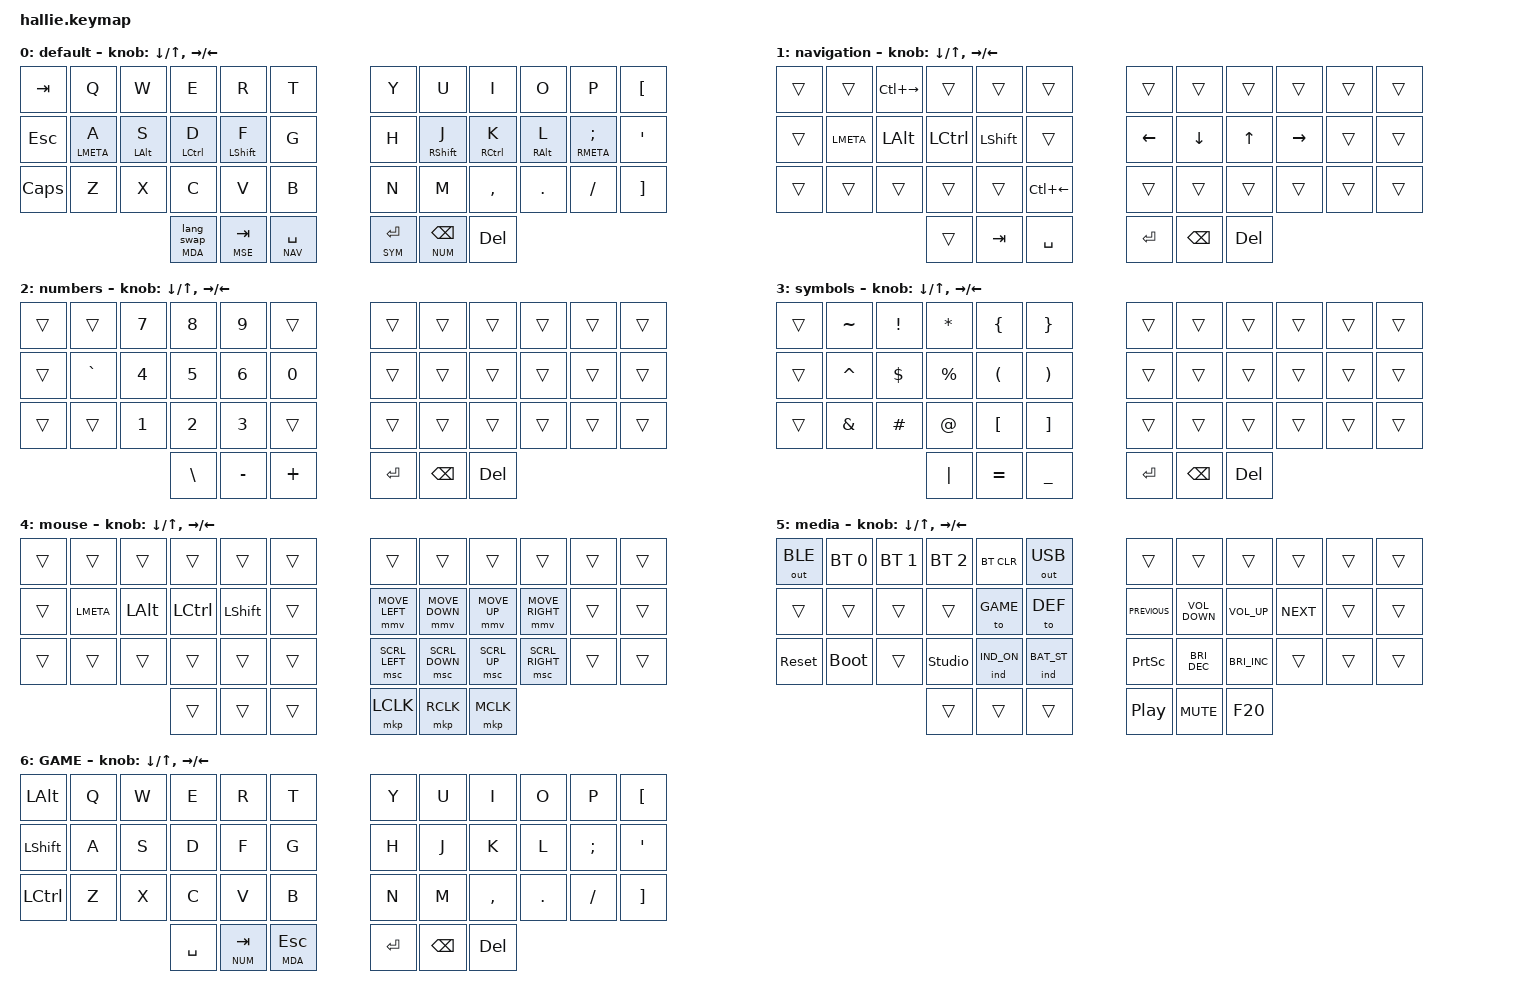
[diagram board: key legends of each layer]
#undef ZMK_BEHAVIORS_KEEP_ALL

#define ZMK_BEHAVIORS_KEEP_IND
#define ZMK_BEHAVIORS_KEEP_BT
#define ZMK_BEHAVIORS_KEEP_GRESC
#define ZMK_BEHAVIORS_KEEP_SYS_RESET
#define ZMK_BEHAVIORS_KEEP_BOOTLOADER
#define ZMK_BEHAVIORS_KEEP_CAPS_WORD
#define ZMK_BEHAVIORS_KEEP_KEY_REPEAT
#define ZMK_BEHAVIORS_KEEP_KT
#define ZMK_BEHAVIORS_KEEP_LT
#define ZMK_BEHAVIORS_KEEP_MT
#define ZMK_BEHAVIORS_KEEP_SK
#define ZMK_BEHAVIORS_KEEP_STICKY_LAYER
#define ZMK_BEHAVIORS_KEEP_TO
#define ZMK_BEHAVIORS_KEEP_TOG
#define ZMK_BEHAVIORS_KEEP_TRANS

#include <behaviors.dtsi>
#include <behaviors/indicators.dtsi>

#include <dt-bindings/zmk/bt.h>
#include <dt-bindings/zmk/keys.h>
#include <dt-bindings/zmk/outputs.h>
#include <dt-bindings/zmk/indicators.h>
#include <dt-bindings/zmk/pointing.h>

#define CONFIG_ZMK_IDLE_TIMEOUT 300000
#define ZMK_POINTING_DEFAULT_MOVE_VAL 500
#define ZMK_POINTING_DEFAULT_SCRL_VAL 250

#define DEF 0
#define NAV 1
#define NUM 2
#define SYM 3
#define MSE 4
#define MDA 5
#define GAME 6

&lt { quick_tap_ms = <200>; };

&mt { quick_tap_ms = <200>; };

/ {
    macros {
        lang_swap: lang_swap {
            compatible = "zmk,behavior-macro";
            #binding-cells = <0>;
            bindings = <&kt LALT &kp LSHFT &kt LALT>;
        };
    };

    behaviors {
        hrm_l: hrm_l {
            compatible = "zmk,behavior-hold-tap";
            #binding-cells = <2>;
            flavor = "balanced";
            tapping-term-ms = <200>;
            quick-tap-ms = <200>;
            require-prior-idle-ms = <125>;
            bindings = <&kp>, <&kp>;

            hold-trigger-on-release;

            hold-trigger-key-positions = <
                6 7 8 9 10 11
                18 19 20 21 22 23
                30 31 32 33 34 35
                13 14 15 16
                36 37 38 39 40 41
            >;
        };

        hrm_r: hrm_r {
            compatible = "zmk,behavior-hold-tap";
            #binding-cells = <2>;
            flavor = "balanced";
            tapping-term-ms = <200>;
            quick-tap-ms = <200>;
            require-prior-idle-ms = <125>;
            bindings = <&kp>, <&kp>;

            hold-trigger-on-release;
            hold-trigger-key-positions = <
                0 1 2 3 4 5
                12 13 14 15 16 17
                24 25 26 27 28 29
                19 20 21 22
                36 37 38 39 40 41
            >;
        };

        htmk: htmk {
            compatible = "zmk,behavior-hold-tap";
            label = "HT_MOD_KEY";
            bindings = <&mo>, <&kp>;

            #binding-cells = <2>;
            tapping-term-ms = <200>;
            flavor = "balanced";
        };

        lang: layer_lang {
            compatible = "zmk,behavior-hold-tap";
            label = "LANG_MOD_KEY";
            bindings = <&mo>, <&lang_swap>;

            #binding-cells = <2>;
            tapping-term-ms = <200>;
            flavor = "balanced";
        };
    };

    keymap {
        compatible = "zmk,keymap";

        default {
            bindings = <
&kp TAB   &kp Q           &kp W          &kp E           &kp R           &kp T              &kp Y          &kp U           &kp I           &kp O          &kp P              &kp LBKT
&kp ESC   &hrm_l LMETA A  &hrm_l LALT S  &hrm_l LCTRL D  &hrm_l LSHFT F  &kp G              &kp H          &hrm_r RSHFT J  &hrm_r RCTRL K  &hrm_r RALT L  &hrm_r RMETA SEMI  &kp SQT
&kp CAPS  &kp Z           &kp X          &kp C           &kp V           &kp B              &kp N          &kp M           &kp COMMA       &kp DOT        &kp SLASH          &kp RBKT
                                         &lang MDA 0     &htmk MSE TAB   &htmk NAV SPACE    &htmk SYM RET  &htmk NUM BSPC  &kp DEL
            >;

            sensor-bindings = <&inc_dec_kp DOWN_ARROW UP_ARROW &inc_dec_kp RIGHT_ARROW LEFT_ARROW>;
        };

        navigation {
            bindings = <
&trans  &trans     &kp LC(RIGHT)  &trans     &trans      &trans         &trans    &trans         &trans      &trans     &trans  &trans
&trans  &kp LMETA  &kp LALT       &kp LCTRL  &kp LSHIFT  &trans         &kp LEFT  &kp DOWN       &kp UP      &kp RIGHT  &trans  &trans
&trans  &trans     &trans         &trans     &trans      &kp LC(LEFT)   &trans    &trans         &trans      &trans     &trans  &trans
                                 &trans     &kp TAB     &kp SPACE       &kp RET   &kp BACKSPACE  &kp DELETE
            >;

            sensor-bindings = <&inc_dec_kp DOWN_ARROW UP_ARROW &inc_dec_kp RIGHT_ARROW LEFT_ARROW>;
        };

        numbers {
            bindings = <
&trans  &trans     &kp N7  &kp N8         &kp N9     &trans      &trans   &trans         &trans      &trans  &trans  &trans
&trans  &kp GRAVE  &kp N4  &kp N5         &kp N6     &kp N0      &trans   &trans         &trans      &trans  &trans  &trans
&trans  &trans     &kp N1  &kp N2         &kp N3     &trans      &trans   &trans         &trans      &trans  &trans  &trans
                           &kp BACKSLASH  &kp MINUS  &kp PLUS    &kp RET  &kp BACKSPACE  &kp DELETE
            >;

            sensor-bindings = <&inc_dec_kp DOWN_ARROW UP_ARROW &inc_dec_kp RIGHT_ARROW LEFT_ARROW>;
        };

        symbols {
            bindings = <
&trans  &kp TILDE      &kp EXCLAMATION  &kp ASTERISK  &kp LEFT_BRACE        &kp RIGHT_BRACE          &trans   &trans         &trans      &trans  &trans  &trans
&trans  &kp CARET      &kp DOLLAR       &kp PERCENT   &kp LEFT_PARENTHESIS  &kp RIGHT_PARENTHESIS    &trans   &trans         &trans      &trans  &trans  &trans
&trans  &kp AMPERSAND  &kp HASH         &kp AT_SIGN   &kp LEFT_BRACKET      &kp RIGHT_BRACKET        &trans   &trans         &trans      &trans  &trans  &trans
                                        &kp PIPE      &kp EQUAL             &kp UNDERSCORE           &kp RET  &kp BACKSPACE  &kp DELETE
            >;

            sensor-bindings = <&inc_dec_kp DOWN_ARROW UP_ARROW &inc_dec_kp RIGHT_ARROW LEFT_ARROW>;
        };

        mouse {
            bindings = <
&trans  &trans     &trans    &trans     &trans      &trans    &trans          &trans          &trans        &trans           &trans  &trans
&trans  &kp LMETA  &kp LALT  &kp LCTRL  &kp LSHIFT  &trans    &mmv MOVE_LEFT  &mmv MOVE_DOWN  &mmv MOVE_UP  &mmv MOVE_RIGHT  &trans  &trans
&trans  &trans     &trans    &trans     &trans      &trans    &msc SCRL_LEFT  &msc SCRL_DOWN  &msc SCRL_UP  &msc SCRL_RIGHT  &trans  &trans
                             &trans     &trans      &trans    &mkp LCLK       &mkp RCLK       &mkp MCLK
            >;

            sensor-bindings = <&inc_dec_kp DOWN_ARROW UP_ARROW &inc_dec_kp RIGHT_ARROW LEFT_ARROW>;
        };

        media {
            bindings = <
&out OUT_BLE  &bt BT_SEL 0  &bt BT_SEL 1  &bt BT_SEL 2    &bt BT_CLR   &out OUT_USB    &trans            &trans                &trans                &trans      &trans  &trans
&trans        &trans        &trans        &trans          &to GAME     &to DEF         &kp C_PREVIOUS    &kp C_VOLUME_DOWN     &kp C_VOLUME_UP       &kp C_NEXT  &trans  &trans
&sys_reset    &bootloader   &trans        &studio_unlock  &ind IND_ON  &ind BAT_ST     &kp PRINTSCREEN   &kp C_BRIGHTNESS_DEC  &kp C_BRIGHTNESS_INC  &trans      &trans  &trans
                                          &trans          &trans       &trans          &kp C_PLAY_PAUSE  &kp C_MUTE            &kp F20
            >;

            sensor-bindings = <&inc_dec_kp DOWN_ARROW UP_ARROW &inc_dec_kp RIGHT_ARROW LEFT_ARROW>;
        };

        GAME {
            bindings = <
&kp LALT    &kp Q  &kp W  &kp E      &kp R          &kp T              &kp Y    &kp U          &kp I      &kp O    &kp P     &kp LBKT
&kp LSHIFT  &kp A  &kp S  &kp D      &kp F          &kp G              &kp H    &kp J          &kp K      &kp L    &kp SEMI  &kp SQT
&kp LCTRL   &kp Z  &kp X  &kp C      &kp V          &kp B              &kp N    &kp M          &kp COMMA  &kp DOT  &kp SLASH &kp RBKT
                          &kp SPACE  &htmk NUM TAB  &htmk MDA ESC      &kp RET  &kp BACKSPACE  &kp DELETE
            >;

            sensor-bindings = <&inc_dec_kp DOWN_ARROW UP_ARROW &inc_dec_kp RIGHT_ARROW LEFT_ARROW>;
        };
    };
};
